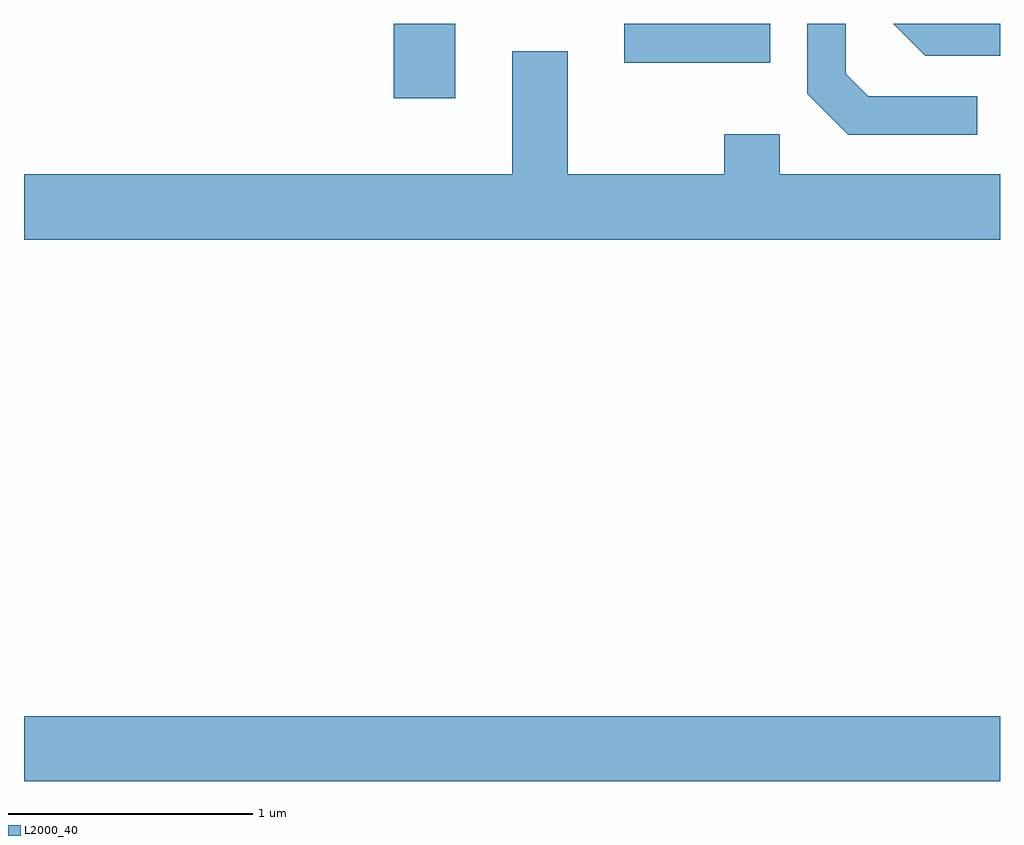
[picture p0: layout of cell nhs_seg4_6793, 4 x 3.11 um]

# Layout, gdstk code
import gdstk
lib = gdstk.Library(unit=1e-6, precision=1e-09)
def R(c, l, rs):  # rectangles x0, y0, x1, y1
    for r in rs: c.add(gdstk.rectangle(r[:2], r[2:], *l))
def P(c, l, *ps):  # polygons
    for p in ps: c.add(gdstk.Polygon(p, *l))
L2000_40 = (2000, 40)

nhs_seg4_6793 = lib.new_cell('nhs_seg4_6793')
R(nhs_seg4_6793, L2000_40, [(383.611,1376.876,387.611,1377.144), (385.126,1379.676,385.379,1379.982), (386.071,1379.821,386.669,1379.982)])
P(nhs_seg4_6793, L2000_40, [(387.518,1379.684),(387.072,1379.684),(386.979,1379.777),(386.979,1379.982),(386.821,1379.982),(386.821,1379.694),(386.989,1379.526),(387.518,1379.526)],
  [(387.611,1379.982),(387.173,1379.982),(387.304,1379.851),(387.611,1379.851)],
  [(387.611,1379.364),(386.709,1379.364),(386.709,1379.529),(386.481,1379.529),(386.481,1379.364),(385.839,1379.364),(385.839,1379.869),(385.611,1379.869),(385.611,1379.364),(383.611,1379.364),(383.611,1379.096),(387.611,1379.096)])

lib.write_gds('nhs_seg4_6793.gds')
